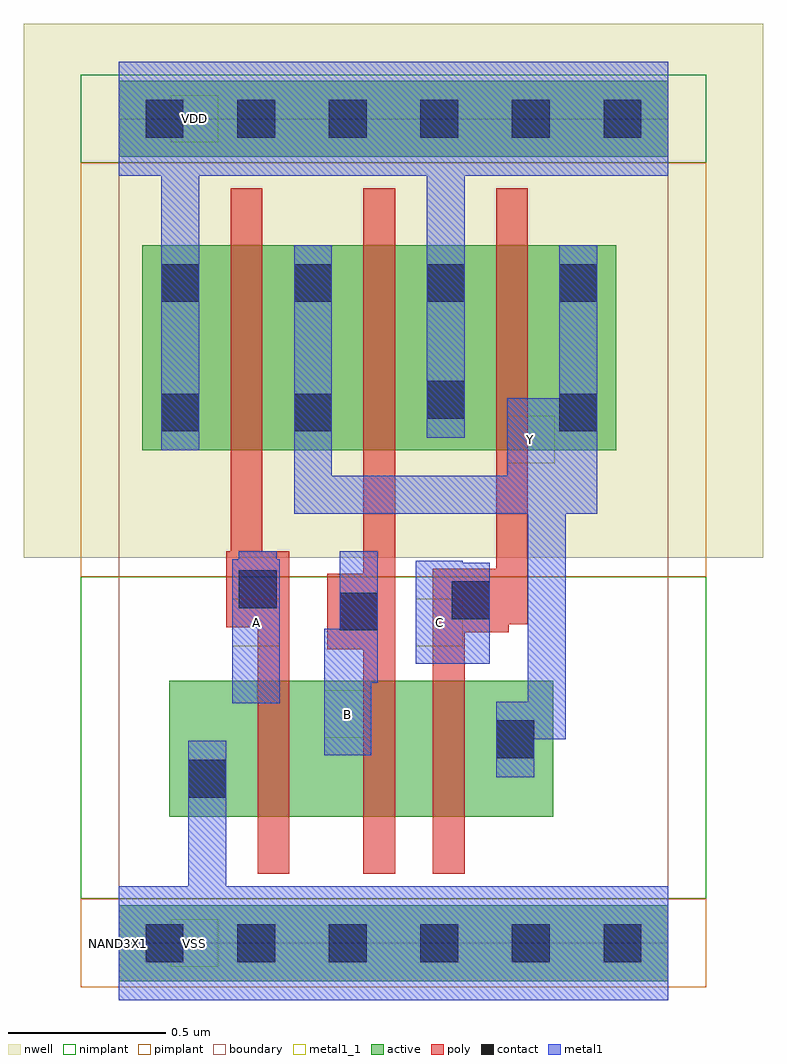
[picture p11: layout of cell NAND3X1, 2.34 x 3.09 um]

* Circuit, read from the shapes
.subckt NAND3X1 A B C VDD VSS Y
M1 n1 A VSS VSS nfet w=0.43u l=0.1u
M2 n2 B n1 VSS nfet w=0.43u l=0.1u
M3 Y C n2 VSS nfet w=0.43u l=0.1u
M4 Y A VDD VDD pfet w=0.65u l=0.1u
M5 VDD B Y VDD pfet w=0.65u l=0.1u
M6 Y C VDD VDD pfet w=0.65u l=0.1u
.ends

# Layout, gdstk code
import gdstk
lib = gdstk.Library(unit=1e-6, precision=5e-10)
def R(c, l, rs):  # rectangles x0, y0, x1, y1
    for r in rs: c.add(gdstk.rectangle(r[:2], r[2:], *l))
def A(c, l, x, y, w, h, nx, ny, dx, dy):  # array of equal rectangles
    R(c, l, [(x+i*dx, y+j*dy, x+i*dx+w, y+j*dy+h) for i in range(nx) for j in range(ny)])
active = (1, 0)
nwell = (2, 0)
poly = (3, 0)
nimplant = (4, 0)
pimplant = (5, 0)
contact = (6, 0)
metal1 = (7, 0)
metal1_1 = (7, 1)
boundary = (62, 0)

nand3x1 = lib.new_cell('NAND3X1')
R(nand3x1, active, [(0,-0.12,1.74,0.12), (0.16,0.4,1.375,0.83), (0.075,1.56,1.575,2.21), (0,2.49,1.74,2.73)])
R(nand3x1, nwell, [(-0.3,1.22,2.04,2.91)])
R(nand3x1, poly, [(0.44,0.22,0.54,1), (0.775,0.22,0.875,0.93), (0.995,0.22,1.095,0.985), (0.66,0.93,0.875,1.17), (0.995,0.985,1.235,1.01), (0.34,1,0.54,1.24), (0.995,1.01,1.295,1.185), (0.775,1.17,0.875,2.39), (1.195,1.185,1.295,2.39), (0.355,1.24,0.455,2.39)])
R(nand3x1, nimplant, [(-0.12,0.14,1.86,1.16), (-0.12,2.47,1.86,2.75)])
R(nand3x1, pimplant, [(-0.12,-0.14,1.86,0.14), (-0.12,1.16,1.86,2.47)])
A(nand3x1, contact, 0.085, -0.06, 0.12, 0.12, 6, 2, 0.29, 2.61)
A(nand3x1, contact, 0.135, 2.03, 0.12, 0.12, 4, 1, 0.42, 0)
R(nand3x1, contact, [(0.22,0.46,0.34,0.58), (1.195,0.585,1.315,0.705), (0.7,0.99,0.82,1.11), (1.055,1.025,1.175,1.145), (0.38,1.06,0.5,1.18), (0.135,1.62,0.255,1.74), (0.555,1.62,0.675,1.74), (1.395,1.62,1.515,1.74), (0.975,1.66,1.095,1.78)])
R(nand3x1, metal1, [(0,-0.18,1.74,0.18), (0.22,0.18,0.34,0.64), (1.195,0.525,1.315,0.645), (0.65,0.595,0.8,0.825), (1.195,0.645,1.415,0.765), (0.36,0.76,0.51,1.215), (1.295,0.765,1.415,1.36), (0.65,0.825,0.82,0.995), (0.94,0.885,1.175,1.205), (0.7,0.995,0.82,1.24), (0.94,1.205,1.09,1.21), (0.38,1.215,0.5,1.24), (0.555,1.36,1.515,1.48), (0.555,1.48,0.675,2.21), (1.23,1.48,1.515,1.725), (0.135,1.56,0.255,2.43), (0.975,1.6,1.095,2.43), (1.395,1.725,1.515,2.21), (0,2.43,1.74,2.79)])
R(nand3x1, metal1_1, [(0.165,-0.075,0.315,0.075), (0.65,0.65,0.8,0.8), (0.36,0.94,0.51,1.09), (0.94,0.94,1.09,1.09), (1.23,1.52,1.38,1.67), (0.165,2.535,0.315,2.685)])
R(nand3x1, boundary, [(0,0,1.74,2.61)])
nand3x1.add(gdstk.Label('NAND3X1', (0,0), layer=63, texttype=0))
nand3x1.add(gdstk.Label('VSS', (0.24,0), layer=7, texttype=3))
nand3x1.add(gdstk.Label('VDD', (0.24,2.61), layer=7, texttype=3))
nand3x1.add(gdstk.Label('B', (0.725,0.725), layer=7, texttype=3))
nand3x1.add(gdstk.Label('A', (0.435,1.015), layer=7, texttype=3))
nand3x1.add(gdstk.Label('C', (1.015,1.015), layer=7, texttype=3))
nand3x1.add(gdstk.Label('Y', (1.305,1.595), layer=7, texttype=3))

lib.write_gds('NAND3X1.gds')
